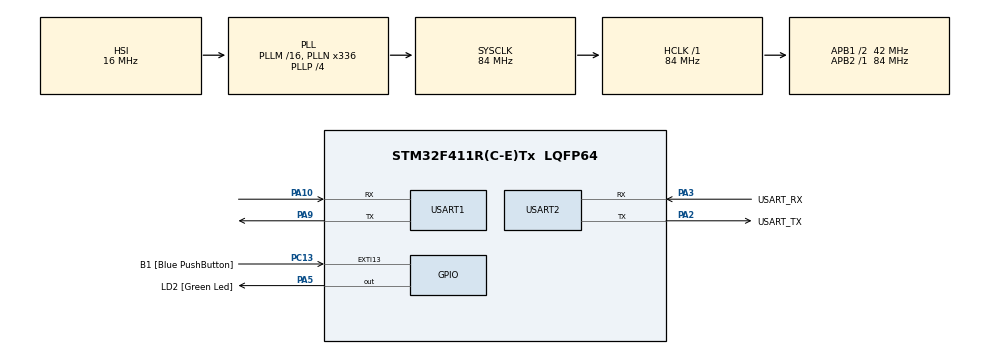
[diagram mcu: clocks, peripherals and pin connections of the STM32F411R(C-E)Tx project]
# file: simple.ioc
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Dma.Request0=USART1_RX
Dma.Request1=USART1_TX
Dma.USART1_RX.0.Direction=DMA_PERIPH_TO_MEMORY
Dma.USART1_RX.0.FIFOMode=DMA_FIFOMODE_DISABLE
Dma.USART1_RX.0.Instance=DMA2_Stream2
Dma.USART1_RX.0.MemDataAlignment=DMA_MDATAALIGN_BYTE
Dma.USART1_RX.0.MemInc=DMA_MINC_ENABLE
Dma.USART1_RX.0.Mode=DMA_CIRCULAR
Dma.USART1_RX.0.PeriphDataAlignment=DMA_PDATAALIGN_BYTE
Dma.USART1_RX.0.PeriphInc=DMA_PINC_DISABLE
Dma.USART1_RX.0.Priority=DMA_PRIORITY_LOW
Dma.USART1_TX.1.Direction=DMA_MEMORY_TO_PERIPH
Dma.USART1_TX.1.FIFOMode=DMA_FIFOMODE_DISABLE
Dma.USART1_TX.1.Instance=DMA2_Stream7
Dma.USART1_TX.1.MemDataAlignment=DMA_MDATAALIGN_BYTE
Dma.USART1_TX.1.MemInc=DMA_MINC_ENABLE
Dma.USART1_TX.1.Mode=DMA_NORMAL
Dma.USART1_TX.1.PeriphDataAlignment=DMA_PDATAALIGN_BYTE
Dma.USART1_TX.1.PeriphInc=DMA_PINC_DISABLE
Dma.USART1_TX.1.Priority=DMA_PRIORITY_LOW
Mcu.Family=STM32F4
Mcu.Name=STM32F411R(C-E)Tx
Mcu.Package=LQFP64
NVIC.DMA2_Stream2_IRQn=true\:0\:0\:false\:false\:true\:false\:true\:true
NVIC.DMA2_Stream7_IRQn=true\:0\:0\:false\:false\:true\:false\:true\:true
NVIC.PriorityGroup=NVIC_PRIORITYGROUP_0
NVIC.USART1_IRQn=true\:0\:0\:false\:false\:true\:true\:true\:true
PA10.Mode=Asynchronous
PA10.Signal=USART1_RX
PA13.GPIO_Label=TMS
PA13.Mode=Serial_Wire
PA13.Signal=SYS_JTMS-SWDIO
PA14.GPIO_Label=TCK
PA14.Mode=Serial_Wire
PA14.Signal=SYS_JTCK-SWCLK
PA2.GPIO_Label=USART_TX
PA2.Mode=Asynchronous
PA2.Signal=USART2_TX
PA3.GPIO_Label=USART_RX
PA3.Mode=Asynchronous
PA3.Signal=USART2_RX
PA5.GPIO_Label=LD2 [Green Led]
PA5.Signal=GPIO_Output
PA9.Mode=Asynchronous
PA9.Signal=USART1_TX
PC13-ANTI_TAMP.GPIO_Label=B1 [Blue PushButton]
PC13-ANTI_TAMP.GPIO_ModeDefaultEXTI=GPIO_MODE_IT_FALLING
PC13-ANTI_TAMP.Signal=GPXTI13
PC14-OSC32_IN.Mode=LSE-External-Oscillator
PC14-OSC32_IN.Signal=RCC_OSC32_IN
PC15-OSC32_OUT.Mode=LSE-External-Oscillator
PC15-OSC32_OUT.Signal=RCC_OSC32_OUT
PH0\ -\ OSC_IN.Mode=HSE-External-Clock-Source
PH0\ -\ OSC_IN.Signal=RCC_OSC_IN
PH1\ -\ OSC_OUT.Mode=HSE-External-Clock-Source
PH1\ -\ OSC_OUT.Signal=RCC_OSC_OUT
ProjectManager.HeapSize=0x200
ProjectManager.StackSize=0x400
ProjectManager.TargetToolchain=CMake
RCC.48MHZClocksFreq_Value=84000000
RCC.AHBFreq_Value=84000000
RCC.APB1CLKDivider=RCC_HCLK_DIV2
RCC.APB1Freq_Value=42000000
RCC.APB1TimFreq_Value=84000000
RCC.APB2Freq_Value=84000000
RCC.APB2TimFreq_Value=84000000
RCC.CortexFreq_Value=84000000
RCC.FLatency-AdvancedSettings=FLASH_LATENCY_2
RCC.HCLKFreq_Value=84000000
RCC.HSE_VALUE=8000000
RCC.HSI_VALUE=16000000
RCC.PLLN=336
RCC.PLLP=RCC_PLLP_DIV4
RCC.SYSCLKFreq_VALUE=84000000
RCC.SYSCLKSource=RCC_SYSCLKSOURCE_PLLCLK
RCC.VCOOutputFreq_Value=336000000
USART1.VirtualMode=VM_ASYNC
USART2.VirtualMode=VM_ASYNC
board=NUCLEO-F411RE

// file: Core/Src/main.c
/* USER CODE BEGIN Header */
/**
  ******************************************************************************
  * @file           : main.c
  * @brief          : Main program body
  ******************************************************************************
  * @attention
  *
  * Copyright (c) 2024 STMicroelectronics.
  * All rights reserved.
  *
  * This software is licensed under terms that can be found in the LICENSE file
  * in the root directory of this software component.
  * If no LICENSE file comes with this software, it is provided AS-IS.
  *
  ******************************************************************************
  */
/* USER CODE END Header */
#include "main.h"
#include "dma.h"
#include "usart.h"
#include "gpio.h"

/* USER CODE BEGIN Includes */

#include <uart_rb.h>
#include <stdio.h>

#include <stdlib.h>
#include <inttypes.h>

/* USER CODE END Includes */

/* USER CODE BEGIN PD */

#define EXAMPLE_HUART huart1

/* USER CODE END PD */

/* USER CODE BEGIN PV */

static uint8_t rx_rb_data[128], tx_rb_data[128];
static uart_rb_t uart_rb;

/* USER CODE END PV */

void SystemClock_Config(void);
/* USER CODE BEGIN PFP */

static void uart_rx_evt_cb(UART_HandleTypeDef *huart, uint16_t Pos);
static void uart_tx_tc_cb(UART_HandleTypeDef *huart);

/* USER CODE END PFP */

int main(void)
{

	/* MCU Configuration--------------------------------------------------------*/

	/* Reset of all peripherals, Initializes the Flash interface and the Systick. */
	HAL_Init();

	/* Configure the system clock */
	SystemClock_Config();

	/* Initialize all configured peripherals */
	MX_GPIO_Init();
	MX_DMA_Init();
	MX_USART1_UART_Init();
	MX_USART2_UART_Init();
	/* USER CODE BEGIN 2 */

	HAL_UART_RegisterRxEventCallback(&EXAMPLE_HUART, uart_rx_evt_cb);
	HAL_UART_RegisterCallback(&EXAMPLE_HUART, HAL_UART_TX_COMPLETE_CB_ID,
				  uart_tx_tc_cb);

	uart_rb_init(&uart_rb, &EXAMPLE_HUART, rx_rb_data, sizeof(rx_rb_data),
		     tx_rb_data, sizeof(tx_rb_data));
	uart_rb_start(&uart_rb);

	/* USER CODE END 2 */

	/* Infinite loop */
	/* USER CODE BEGIN WHILE */
	while (1) {
		lwrb_sz_t size = lwrb_get_full(UART_RB_GET_RX_RB(&uart_rb));
		if (size > 0) {
			char *data = malloc(size);

			lwrb_read(UART_RB_GET_RX_RB(&uart_rb), data, size);

			printf("Got some data: %.*s\r\n", size, data);

			free(data);
		}

		//lwrb_write(UART_RB_GET_TX_RB(&uart_rb), "ciao\r\n", 6);

		HAL_Delay(100);

		/* USER CODE END WHILE */

	}
}

void SystemClock_Config(void)
{
	RCC_OscInitTypeDef RCC_OscInitStruct = { 0 };
	RCC_ClkInitTypeDef RCC_ClkInitStruct = { 0 };

	/** Configure the main internal regulator output voltage
  */
	__HAL_RCC_PWR_CLK_ENABLE();
	__HAL_PWR_VOLTAGESCALING_CONFIG(PWR_REGULATOR_VOLTAGE_SCALE1);

	/** Initializes the RCC Oscillators according to the specified parameters
  * in the RCC_OscInitTypeDef structure.
  */
	RCC_OscInitStruct.OscillatorType = RCC_OSCILLATORTYPE_HSI;
	RCC_OscInitStruct.HSIState = RCC_HSI_ON;
	RCC_OscInitStruct.HSICalibrationValue = RCC_HSICALIBRATION_DEFAULT;
	RCC_OscInitStruct.PLL.PLLState = RCC_PLL_ON;
	RCC_OscInitStruct.PLL.PLLSource = RCC_PLLSOURCE_HSI;
	RCC_OscInitStruct.PLL.PLLM = 16;
	RCC_OscInitStruct.PLL.PLLN = 336;
	RCC_OscInitStruct.PLL.PLLP = RCC_PLLP_DIV4;
	RCC_OscInitStruct.PLL.PLLQ = 4;
	if (HAL_RCC_OscConfig(&RCC_OscInitStruct) != HAL_OK) {
		Error_Handler();
	}

	/** Initializes the CPU, AHB and APB buses clocks
  */
	RCC_ClkInitStruct.ClockType = RCC_CLOCKTYPE_HCLK |
				      RCC_CLOCKTYPE_SYSCLK |
				      RCC_CLOCKTYPE_PCLK1 | RCC_CLOCKTYPE_PCLK2;
	RCC_ClkInitStruct.SYSCLKSource = RCC_SYSCLKSOURCE_PLLCLK;
	RCC_ClkInitStruct.AHBCLKDivider = RCC_SYSCLK_DIV1;
	RCC_ClkInitStruct.APB1CLKDivider = RCC_HCLK_DIV2;
	RCC_ClkInitStruct.APB2CLKDivider = RCC_HCLK_DIV1;

	if (HAL_RCC_ClockConfig(&RCC_ClkInitStruct, FLASH_LATENCY_2) !=
	    HAL_OK) {
		Error_Handler();
	}
}

/* USER CODE BEGIN 4 */

int _write(int file, char *ptr, int len)
{
	HAL_UART_Transmit(&huart2, (uint8_t *)ptr, len, HAL_MAX_DELAY);
	return len;
}

static void uart_rx_evt_cb(UART_HandleTypeDef *huart, uint16_t Pos)
{
	if (huart->Instance == EXAMPLE_HUART.Instance) {
		printf("p:%"PRIu16, Pos);
		uart_rb_rx_evt_cb(&uart_rb, Pos);
	}
}

static void uart_tx_tc_cb(UART_HandleTypeDef *huart)
{
	if (huart->Instance == EXAMPLE_HUART.Instance) {
		uart_rb_tx_tc_cb(&uart_rb);
	}
}

/* USER CODE END 4 */

void Error_Handler(void)
{
	__disable_irq();
	while (1) {
	}
}
